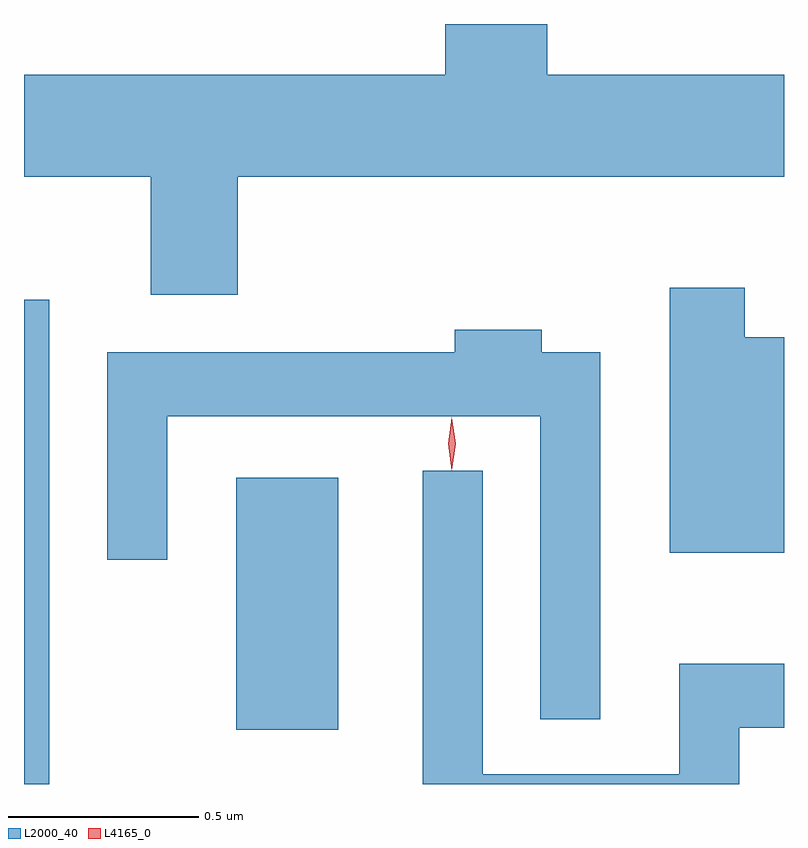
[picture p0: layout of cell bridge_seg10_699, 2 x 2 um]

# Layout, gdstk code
import gdstk
lib = gdstk.Library(unit=1e-6, precision=1e-09)
def R(c, l, rs):  # rectangles x0, y0, x1, y1
    for r in rs: c.add(gdstk.rectangle(r[:2], r[2:], *l))
def P(c, l, *ps):  # polygons
    for p in ps: c.add(gdstk.Polygon(p, *l))
L2000_40 = (2000, 40)
L4165_0 = (4165, 0)

bridge_seg10_699 = lib.new_cell('bridge_seg10_699')
R(bridge_seg10_699, L2000_40, [(893.287,2141.178,893.354,2142.453), (893.846,2141.321,894.114,2141.984)])
P(bridge_seg10_699, L2000_40, [(895.287,2143.044),(894.664,2143.044),(894.664,2143.178),(894.396,2143.178),(894.396,2143.044),(893.287,2143.044),(893.287,2142.776),(893.621,2142.776),(893.621,2142.466),(893.849,2142.466),(893.849,2142.776),(895.287,2142.776)],
  [(895.287,2142.354),(895.184,2142.354),(895.184,2142.484),(894.986,2142.484),(894.986,2141.786),(895.287,2141.786)],
  [(894.804,2142.314),(894.649,2142.314),(894.649,2142.374),(894.421,2142.374),(894.421,2142.314),(893.506,2142.314),(893.506,2141.768),(893.664,2141.768),(893.664,2142.146),(894.646,2142.146),(894.646,2141.348),(894.804,2141.348)],
  [(895.169,2141.326),(895.287,2141.326),(895.287,2141.494),(895.011,2141.494),(895.011,2141.204),(894.494,2141.204),(894.494,2142.003),(894.336,2142.003),(894.336,2141.178),(895.169,2141.178)])
P(bridge_seg10_699, L4165_0, [(894.412,2142.007),(894.403,2142.074),(894.412,2142.14),(894.413,2142.14),(894.413,2142.14),(894.423,2142.074),(894.413,2142.007),(894.413,2142.007)],
  [(894.412,2142.004),(894.403,2142.073),(894.412,2142.142),(894.413,2142.143),(894.413,2142.142),(894.423,2142.073),(894.413,2142.004),(894.413,2142.004)])

lib.write_gds('bridge_seg10_699.gds')
